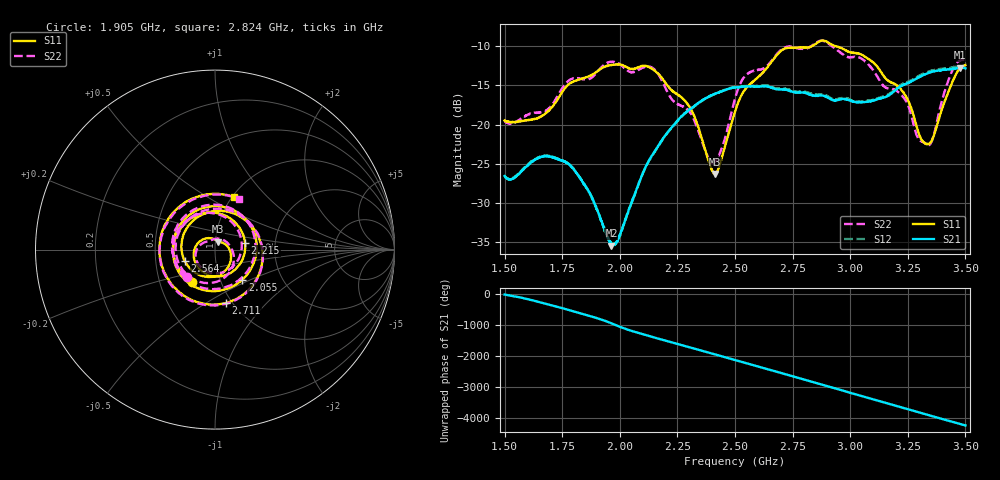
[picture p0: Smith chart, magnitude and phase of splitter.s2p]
!Agilent Technologies,E8364A,US41440144,A.06.04.32
!Agilent E8364A: A.06.04.32
!Date: Monday, February 18, 2019 17:03:07
!Correction: S11(Off) S21(Off) S12(Off) S22(Off)
!S2P File: Measurements: S11, S21, S12, S22:
# Hz S  dB  R 50
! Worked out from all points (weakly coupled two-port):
!   1601 points, 1.5 GHz to 3.5 GHz, reference 50 ohm
!   highest |S21| = -12.71 dB at 3.476 GHz (marker M1); lowest = -35.5 dB at 1.964 GHz (marker M2)
!   lowest |S11| = -26.3 dB at 2.413 GHz (marker M3), VSWR 1.10, Z = 51.7 + j4.63 ohm
!   |S11| at or under -10 dB: start of sweep to 2.833 GHz; 2.937 GHz to end of sweep
!   |S22| runs from -24.9 to -9.3 dB; largest |S21 - S12| = 0.11
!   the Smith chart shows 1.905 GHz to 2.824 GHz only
!   S11 on the Smith chart (normalised r, x): 1.905 GHz: 0.73, -0.27; 2.055 GHz: 1.27, -0.45; 2.215 GHz: 1.40, +0.11; 2.564 GHz: 0.71, -0.09; 2.711 GHz: 0.94, -0.61; 2.824 GHz: 1.02, +0.67
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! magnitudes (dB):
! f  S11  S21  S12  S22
! 1.5 GHz  -19.5  -26.6  -26.6  -19.5
! 1.683 GHz  -18.5  -24.0  -24.0  -18.2
! 1.834 GHz  -14.1  -27.1  -27.0  -14.2
! 1.905 GHz  -13.2  -31.1  -31.1  -13.2
! 1.964 GHz  -12.4  -35.5  -35.2  -12.0
! 2.055 GHz  -12.9  -29.6  -29.6  -13.3
! 2.167 GHz  -13.5  -22.7  -22.8  -13.6
! 2.215 GHz  -15.3  -20.7  -20.8  -16.3
! 2.312 GHz  -18.2  -17.9  -17.9  -18.8
! 2.413 GHz  -26.3  -16.1  -16.1  -24.8
! 2.5 GHz  -18.3  -15.3  -15.2  -16.7
! 2.564 GHz  -14.9  -15.1  -15.1  -13.4
! 2.711 GHz  -10.3  -15.5  -15.4  -10.2
! 2.824 GHz  -10.1  -16.2  -16.0  -10.1
! 2.834 GHz  -10.0  -16.3  -16.1  -9.9
! 3.046 GHz  -11.0  -17.2  -17.1  -11.5
! 3.167 GHz  -14.4  -16.3  -16.1  -15.4
! 3.236 GHz  -16.2  -14.9  -14.7  -16.7
! 3.294 GHz  -20.8  -14.0  -13.9  -21.8
! 3.341 GHz  -22.5  -13.4  -13.2  -22.6
! 3.476 GHz  -12.8  -12.7  -12.6  -11.8
! 3.5 GHz  -12.4  -12.8  -12.7  -11.8
